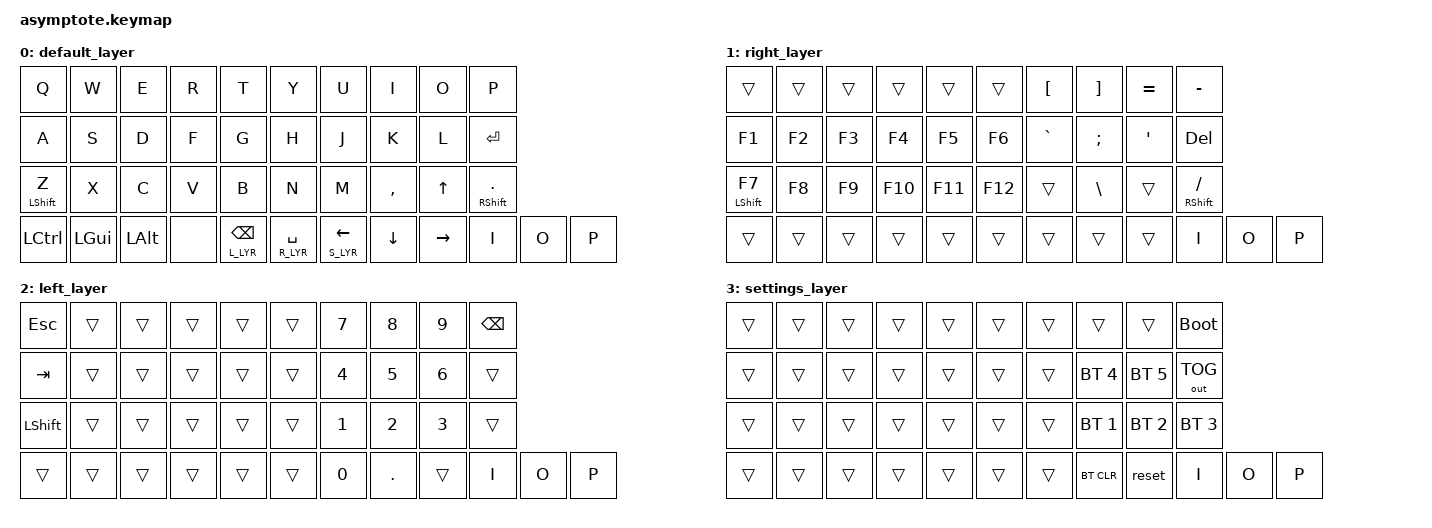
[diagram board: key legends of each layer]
/*
 * Copyright (c) 2020 The ZMK Contributors
 *
 * SPDX-License-Identifier: MIT
 */

#include <behaviors.dtsi>
#include <dt-bindings/zmk/keys.h>
#include <dt-bindings/zmk/bt.h>
#include <dt-bindings/zmk/outputs.h>

#define DEFLT   0
#define R_LYR   1
#define L_LYR   2
#define S_LYR   3

&mt {
    tapping-term-ms = <200>; 
};
&lt {
    quick-tap-ms = <400>;
};

/ {
    keymap {
        compatible = "zmk,keymap";

        default_layer {
            bindings = <
    &kp Q       &kp W       &kp E       &kp R       &kp T       &kp Y       &kp U       &kp I       &kp O       &kp P       
    &kp A       &kp S       &kp D       &kp F       &kp G       &kp H       &kp J       &kp K       &kp L       &kp RET     
    &mt LSHFT Z &kp X       &kp C       &kp V       &kp B       &kp N       &kp M       &kp COMMA   &kp UP      &mt RSHFT DOT
    &kp LCTRL   &kp LGUI    &kp LALT    &none     &lt L_LYR BSPC  &lt R_LYR SPACE  &lt S_LYR LEFT    &kp DOWN    &kp RIGHT &kp I       &kp O       &kp P
            >;
        };
	
        right_layer {
            bindings = <
    &trans      &trans      &trans      &trans      &trans      &trans      &kp LBKT    &kp RBKT    &kp EQUAL   &kp MINUS        
    &kp F1      &kp F2      &kp F3      &kp F4      &kp F5      &kp F6      &kp GRAVE   &kp SEMI    &kp SQT     &kp DEL           
    &mt LSHFT F7 &kp F8     &kp F9      &kp F10     &kp F11     &kp F12     &trans      &kp BSLH    &trans      &mt RSHFT SLASH
    &trans      &trans      &trans      &trans         &trans          &trans           &trans      &trans      &trans   &kp I       &kp O       &kp P  
            >;
        };

    	left_layer {
            bindings = <
    &kp ESC     &trans      &trans      &trans      &trans      &trans      &kp N7      &kp N8      &kp N9      &kp BSPC    
    &kp TAB     &trans      &trans      &trans      &trans      &trans      &kp N4      &kp N5      &kp N6      &trans      
    &kp LSHFT   &trans      &trans      &trans      &trans      &trans      &kp N1      &kp N2      &kp N3      &trans      
    &trans      &trans      &trans      &trans         &trans          &trans           &kp N0      &kp DOT     &trans  &kp I       &kp O       &kp P    
            >;
        };

	settings_layer {
            bindings = <
    &trans      &trans      &trans      &trans      &trans      &trans      &trans      &trans      &trans      &bootloader     
    &trans      &trans      &trans      &trans      &trans      &trans      &trans      &bt BT_SEL 4 &bt BT_SEL 5 &out OUT_TOG     
    &trans      &trans      &trans      &trans      &trans      &trans      &trans      &bt BT_SEL 1 &bt BT_SEL 2 &bt BT_SEL 3      
    &trans      &trans      &trans      &trans         &trans          &trans           &trans      &bt BT_CLR  &reset  &kp I       &kp O       &kp P
            >;
        };
    };
};
